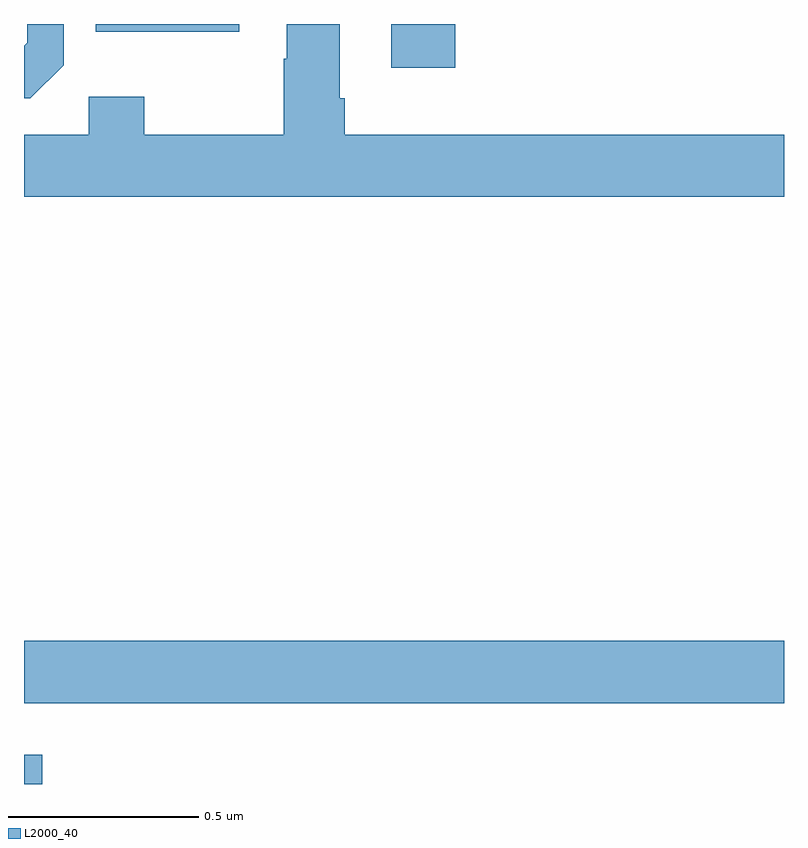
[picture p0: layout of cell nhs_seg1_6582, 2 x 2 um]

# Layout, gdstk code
import gdstk
lib = gdstk.Library(unit=1e-6, precision=1e-09)
def R(c, l, rs):  # rectangles x0, y0, x1, y1
    for r in rs: c.add(gdstk.rectangle(r[:2], r[2:], *l))
def P(c, l, *ps):  # polygons
    for p in ps: c.add(gdstk.Polygon(p, *l))
L2000_40 = (2000, 40)

nhs_seg1_6582 = lib.new_cell('nhs_seg1_6582')
R(nhs_seg1_6582, L2000_40, [(193,538.199,193.048,538.276), (193,538.412,195,538.576), (193.967,540.084,194.135,540.199), (193.189,540.179,193.567,540.199)])
P(nhs_seg1_6582, L2000_40, [(195,539.908),(193.844,539.908),(193.844,540.004),(193.831,540.004),(193.831,540.199),(193.691,540.199),(193.691,540.107),(193.684,540.107),(193.684,539.908),(193.317,539.908),(193.317,540.007),(193.17,540.007),(193.17,539.908),(193,539.908),(193,539.744),(195,539.744)],
  [(193.104,540.09),(193.104,540.199),(193.008,540.199),(193.008,540.15),(193,540.142),(193,540.003),(193.017,540.003)])

lib.write_gds('nhs_seg1_6582.gds')
